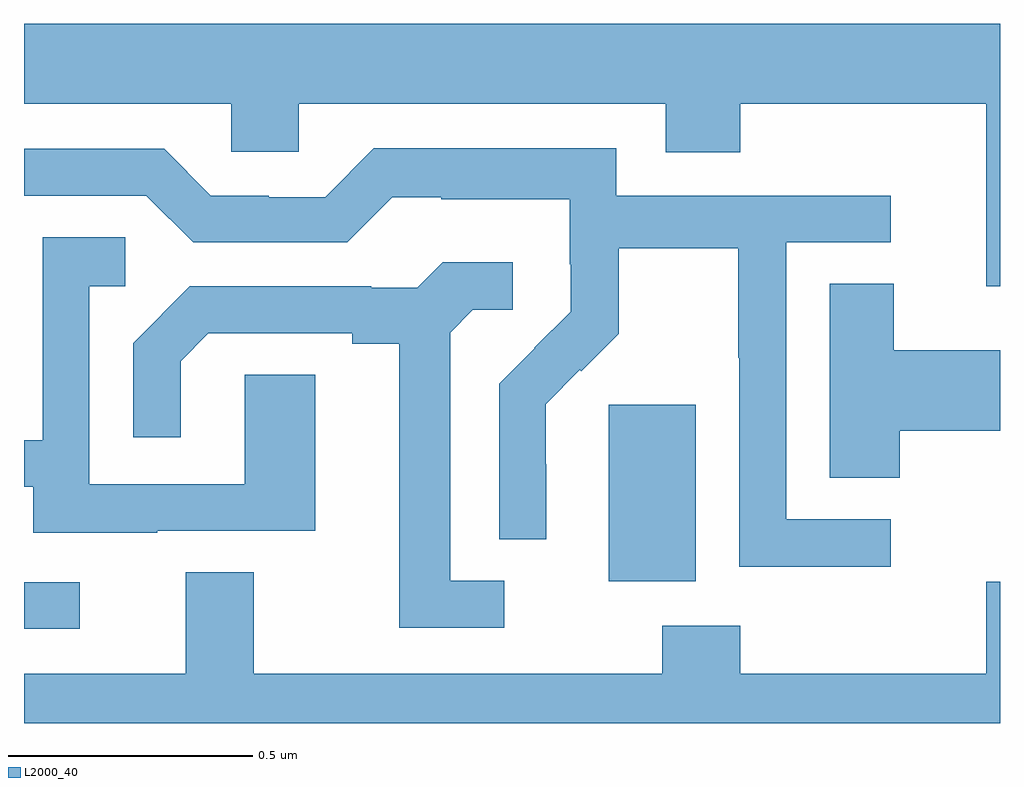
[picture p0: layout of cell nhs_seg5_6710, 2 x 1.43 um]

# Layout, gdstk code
import gdstk
lib = gdstk.Library(unit=1e-6, precision=1e-09)
def R(c, l, rs):  # rectangles x0, y0, x1, y1
    for r in rs: c.add(gdstk.rectangle(r[:2], r[2:], *l))
def P(c, l, *ps):  # polygons
    for p in ps: c.add(gdstk.Polygon(p, *l))
L2000_40 = (2000, 40)

nhs_seg5_6710 = lib.new_cell('nhs_seg5_6710')
R(nhs_seg5_6710, L2000_40, [(199,880.992,199.114,881.088), (200.198,881.09,200.377,881.451)])
P(nhs_seg5_6710, L2000_40, [(201,882.232),(199,882.232),(199,882.068),(199.425,882.068),(199.425,881.97),(199.563,881.97),(199.563,882.068),(200.315,882.068),(200.315,881.969),(200.468,881.969),(200.468,882.068),(200.972,882.068),(200.972,881.694),(201,881.694)],
  [(200.776,881.217),(200.562,881.217),(200.562,881.784),(200.776,881.784),(200.776,881.88),(200.214,881.88),(200.214,881.977),(199.717,881.977),(199.617,881.877),(199.502,881.877),(199.502,881.88),(199.383,881.88),(199.287,881.976),(199,881.976),(199,881.88),(199.251,881.88),(199.347,881.784),(199.662,881.784),(199.755,881.877),(199.855,881.877),(199.855,881.873),(200.118,881.873),(200.118,881.739),(200.12,881.739),(200.12,881.642),(200.046,881.568),(200.047,881.567),(199.974,881.494),(199.974,881.176),(200.07,881.176),(200.07,881.33),(200.069,881.33),(200.069,881.453),(200.139,881.523),(200.142,881.52),(200.219,881.597),(200.219,881.772),(200.464,881.772),(200.464,881.548),(200.466,881.548),(200.466,881.119),(200.776,881.119)],
  [(199.273,881.193),(199.597,881.193),(199.597,881.513),(199.452,881.513),(199.452,881.289),(199.134,881.289),(199.134,881.694),(199.207,881.694),(199.207,881.795),(199.038,881.795),(199.038,881.379),(199,881.379),(199,881.283),(199.019,881.283),(199.019,881.189),(199.273,881.189)],
  [(199.984,881.091),(199.873,881.091),(199.873,881.599),(199.92,881.646),(200.002,881.646),(200.002,881.743),(199.858,881.743),(199.806,881.691),(199.712,881.691),(199.712,881.694),(199.34,881.694),(199.224,881.578),(199.224,881.385),(199.321,881.385),(199.321,881.541),(199.378,881.598),(199.673,881.598),(199.673,881.576),(199.769,881.576),(199.769,880.995),(199.984,880.995)],
  [(200.795,881.398),(201,881.398),(201,881.563),(200.782,881.563),(200.782,881.699),(200.651,881.699),(200.651,881.302),(200.795,881.302)],
  [(201,881.089),(200.972,881.089),(200.972,880.9),(200.468,880.9),(200.468,880.999),(200.308,880.999),(200.308,880.9),(199.471,880.9),(199.471,881.108),(199.331,881.108),(199.331,880.9),(199,880.9),(199,880.799),(201,880.799)])

lib.write_gds('nhs_seg5_6710.gds')
